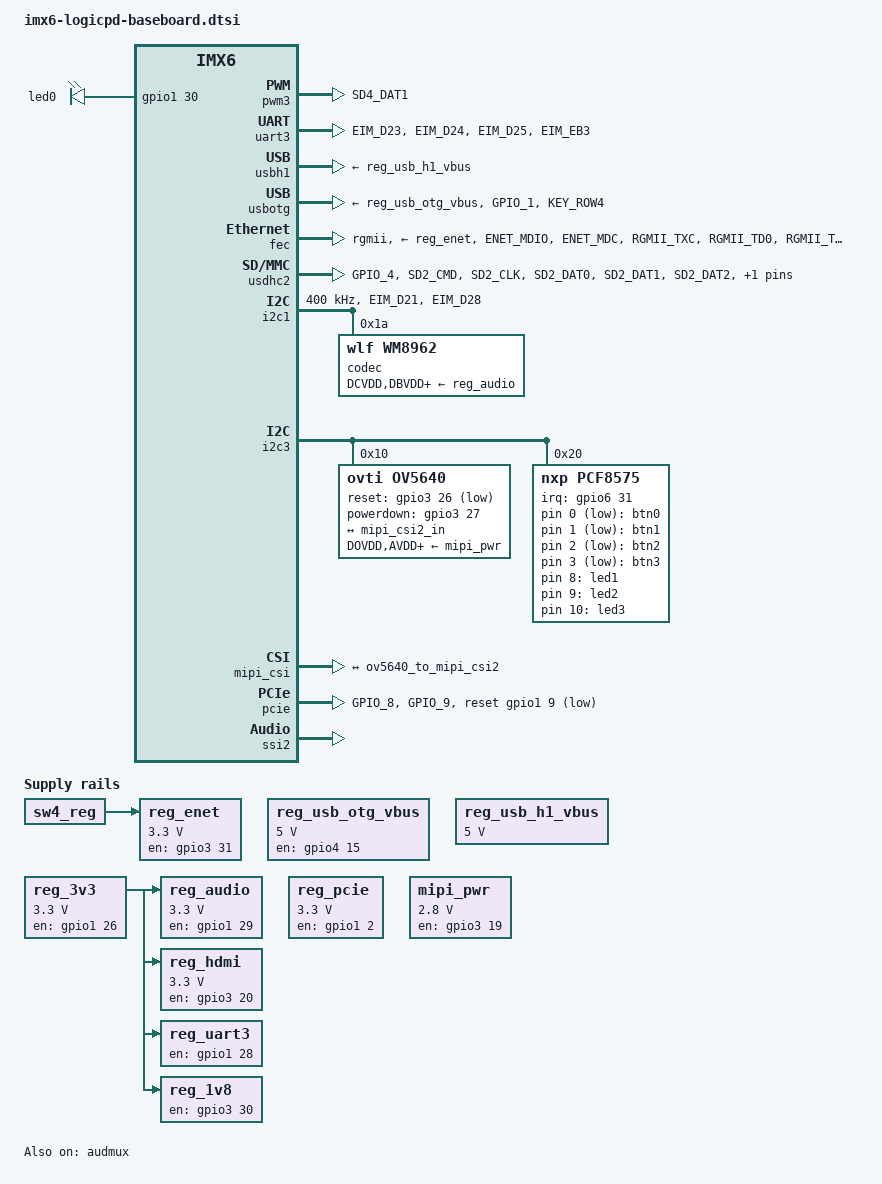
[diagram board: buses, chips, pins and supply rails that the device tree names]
/*
 * Copyright 2018 Logic PD, Inc.
 * Based on SabreSD, Copyright 2016 Freescale Semiconductor, Inc.
 *
 * This file is dual-licensed: you can use it either under the terms
 * of the GPL or the X11 license, at your option. Note that this dual
 * licensing only applies to this file, and not this project as a
 * whole.
 *
 *  a) This file is free software; you can redistribute it and/or
 *     modify it under the terms of the GNU General Public License as
 *     published by the Free Software Foundation; either version 2 of the
 *     License, or (at your option) any later version.
 *
 *     This file is distributed in the hope that it will be useful,
 *     but WITHOUT ANY WARRANTY; without even the implied warranty of
 *     MERCHANTABILITY or FITNESS FOR A PARTICULAR PURPOSE.  See the
 *     GNU General Public License for more details.
 *
 * Or, alternatively,
 *
 *  b) Permission is hereby granted, free of charge, to any person
 *     obtaining a copy of this software and associated documentation
 *     files (the "Software"), to deal in the Software without
 *     restriction, including without limitation the rights to use,
 *     copy, modify, merge, publish, distribute, sublicense, and/or
 *     sell copies of the Software, and to permit persons to whom the
 *     Software is furnished to do so, subject to the following
 *     conditions:
 *
 *     The above copyright notice and this permission notice shall be
 *     included in all copies or substantial portions of the Software.
 *
 *     THE SOFTWARE IS PROVIDED "AS IS", WITHOUT WARRANTY OF ANY KIND,
 *     EXPRESS OR IMPLIED, INCLUDING BUT NOT LIMITED TO THE WARRANTIES
 *     OF MERCHANTABILITY, FITNESS FOR A PARTICULAR PURPOSE AND
 *     NONINFRINGEMENT. IN NO EVENT SHALL THE AUTHORS OR COPYRIGHT
 *     HOLDERS BE LIABLE FOR ANY CLAIM, DAMAGES OR OTHER LIABILITY,
 *     WHETHER IN AN ACTION OF CONTRACT, TORT OR OTHERWISE, ARISING
 *     FROM, OUT OF OR IN CONNECTION WITH THE SOFTWARE OR THE USE OR
 *     OTHER DEALINGS IN THE SOFTWARE.
 */

/ {
	keyboard {
		compatible = "gpio-keys";

		btn0 {
			gpios = <&pcf8575 0 GPIO_ACTIVE_LOW>;
			label = "btn0";
			linux,code = <KEY_WAKEUP>;
			debounce-interval = <10>;
			wakeup-source;
		};

		btn1 {
			gpios = <&pcf8575 1 GPIO_ACTIVE_LOW>;
			label = "btn1";
			linux,code = <KEY_WAKEUP>;
			debounce-interval = <10>;
			wakeup-source;
		};

		btn2 {
			gpios = <&pcf8575 2 GPIO_ACTIVE_LOW>;
			label = "btn2";
			linux,code = <KEY_WAKEUP>;
			debounce-interval = <10>;
			wakeup-source;
		};
		btn3 {
			gpios = <&pcf8575 3 GPIO_ACTIVE_LOW>;
			label = "btn3";
			linux,code = <KEY_WAKEUP>;
			debounce-interval = <10>;
			wakeup-source;
		};

	};

	leds {
		compatible = "gpio-leds";

		gen_led0 {
			label = "led0";
			pinctrl-names = "default";
			pinctrl-0 = <&pinctrl_led0>;
			gpios = <&gpio1 30 GPIO_ACTIVE_HIGH>;
			linux,default-trigger = "cpu0";
		};

		gen_led1 {
			label = "led1";
			gpios = <&pcf8575 8 GPIO_ACTIVE_HIGH>;
		};

		gen_led2 {
			label = "led2";
			gpios = <&pcf8575 9 GPIO_ACTIVE_HIGH>;
			linux,default-trigger = "heartbeat";
		};

		gen_led3 {
			label = "led3";
			gpios = <&pcf8575 10 GPIO_ACTIVE_HIGH>;
			linux,default-trigger = "default-on";
		};
	};

	reg_usb_otg_vbus: regulator-otg-vbus@0 {
		compatible = "regulator-fixed";
		regulator-name = "usb_otg_vbus";
		regulator-min-microvolt = <5000000>;
		regulator-max-microvolt = <5000000>;
		gpio = <&gpio4 15 GPIO_ACTIVE_HIGH>;
		enable-active-high;
	};

	reg_usb_h1_vbus: regulator-usbh1vbus@1 {
		compatible = "regulator-fixed";
		regulator-name = "usb_h1_vbus";
		regulator-min-microvolt = <5000000>;
		regulator-max-microvolt = <5000000>;
	};

	reg_3v3: regulator-3v3@2 {
		pinctrl-names = "default";
		pinctrl-0 = <&pinctrl_reg_3v3>;
		compatible = "regulator-fixed";
		regulator-name = "reg_3v3";
		regulator-min-microvolt = <3300000>;
		regulator-max-microvolt = <3300000>;
		gpio = <&gpio1 26 GPIO_ACTIVE_HIGH>;
		enable-active-high;
		regulator-always-on;
	};

	reg_enet: regulator-ethernet@3 {
		pinctrl-names = "default";
		pinctrl-0 = <&pinctrl_enet_pwr>;
		compatible = "regulator-fixed";
		regulator-name = "ethernet-supply";
		regulator-min-microvolt = <3300000>;
		regulator-max-microvolt = <3300000>;
		gpio = <&gpio3 31 GPIO_ACTIVE_HIGH>;
		startup-delay-us = <70000>;
		enable-active-high;
		vin-supply = <&sw4_reg>;
	};

	reg_audio: regulator-audio@4 {
		pinctrl-names = "default";
		pinctrl-0 = <&pinctrl_reg_audio>;
		compatible = "regulator-fixed";
		regulator-name = "3v3_aud";
		regulator-min-microvolt = <3300000>;
		regulator-max-microvolt = <3300000>;
		gpio = <&gpio1 29 GPIO_ACTIVE_HIGH>;
		enable-active-high;
		regulator-always-on;
		vin-supply = <&reg_3v3>;
	};

	reg_hdmi: regulator-hdmi@5 {
		pinctrl-names = "default";
		pinctrl-0 = <&pinctrl_reg_hdmi>;
		compatible = "regulator-fixed";
		regulator-name = "hdmi-supply";
		regulator-min-microvolt = <3300000>;
		regulator-max-microvolt = <3300000>;
		gpio = <&gpio3 20 GPIO_ACTIVE_HIGH>;
		enable-active-high;
		vin-supply = <&reg_3v3>;
	};

	reg_uart3: regulator-uart3@6 {
		pinctrl-names = "default";
		pinctrl-0 = <&pinctrl_reg_uart3>;
		compatible = "regulator-fixed";
		regulator-name = "uart3-supply";
		gpio = <&gpio1 28 GPIO_ACTIVE_HIGH>;
		enable-active-high;
		regulator-always-on;
		vin-supply = <&reg_3v3>;
	};

	reg_1v8: regulator-1v8@7 {
		pinctrl-names = "default";
		pinctrl-0 = <&pinctrl_reg_1v8>;
		compatible = "regulator-fixed";
		regulator-name = "1v8-supply";
		gpio = <&gpio3 30 GPIO_ACTIVE_HIGH>;
		enable-active-high;
		regulator-always-on;
		vin-supply = <&reg_3v3>;
	};

	reg_pcie: regulator@8 {
		compatible = "regulator-fixed";
		pinctrl-names = "default";
		pinctrl-0 = <&pinctrl_pcie_reg>;
		regulator-name = "MPCIE_3V3";
		regulator-min-microvolt = <3300000>;
		regulator-max-microvolt = <3300000>;
		gpio = <&gpio1 2 GPIO_ACTIVE_HIGH>;
		enable-active-high;
	};

	mipi_pwr: regulator@9 {
		compatible = "regulator-fixed";
		pinctrl-names = "default";
		pinctrl-0 = <&pinctrl_mipi_pwr>;
		regulator-name = "mipi_pwr_en";
		regulator-min-microvolt = <2800000>;
		regulator-max-microvolt = <2800000>;
		gpio = <&gpio3 19 GPIO_ACTIVE_HIGH>;
		enable-active-high;
	};

	sound {
		compatible = "fsl,imx-audio-wm8962";
		model = "wm8962-audio";
		ssi-controller = <&ssi2>;
		audio-codec = <&codec>;
		audio-routing =
			"Headphone Jack", "HPOUTL",
			"Headphone Jack", "HPOUTR",
			"Ext Spk", "SPKOUTL",
			"Ext Spk", "SPKOUTR",
			"AMIC", "MICBIAS",
			"IN3R", "AMIC";
		mux-int-port = <2>;
		mux-ext-port = <4>;
	};
};

&audmux {
	pinctrl-names = "default";
	pinctrl-0 = <&pinctrl_audmux>;
	status = "okay";
};

&ecspi1 {
	pinctrl-names = "default";
	pinctrl-0 = <&pinctrl_ecspi1>;
	status = "disabled";
};

&pwm3 {
	pinctrl-names = "default";
	pinctrl-0 = <&pinctrl_pwm3>;
};

&uart3 {
	pinctrl-names = "default";
	pinctrl-0 = <&pinctrl_uart3>;
	status = "okay";
};

&usbh1 {
	vbus-supply = <&reg_usb_h1_vbus>;
	status = "okay";
};

&usbotg {
	vbus-supply = <&reg_usb_otg_vbus>;
	pinctrl-names = "default";
	pinctrl-0 = <&pinctrl_usbotg>;
	disable-over-current;
	status = "okay";
};

&fec {
	pinctrl-names = "default";
	pinctrl-0 = <&pinctrl_enet>;
	phy-mode = "rgmii";
	phy-reset-duration = <10>;
	phy-reset-gpios = <&gpio1 24 GPIO_ACTIVE_LOW>;
	phy-supply = <&reg_enet>;
	interrupt-parent = <&gpio1>;
	interrupts = <25 IRQ_TYPE_EDGE_FALLING>;
	status = "okay";
};

&usdhc2 {
	pinctrl-names = "default";
	pinctrl-0 = <&pinctrl_usdhc2>;
	pinctrl-1 = <&pinctrl_usdhc2_100mhz>;
	pinctrl-2 = <&pinctrl_usdhc2_200mhz>;
	no-1-8-v;
	keep-power-in-suspend;
	status = "okay";
};

&i2c1 {
	pinctrl-names = "default";
	pinctrl-0 = <&pinctrl_i2c1>;
	clock-frequency = <400000>;
	status = "okay";

	codec: wm8962@1a {
		compatible = "wlf,wm8962";
		reg = <0x1a>;
		clocks = <&clks IMX6QDL_CLK_CKO>;
		clock-names = "xclk";
		DCVDD-supply = <&reg_audio>;
		DBVDD-supply = <&reg_audio>;
		AVDD-supply = <&reg_audio>;
		CPVDD-supply = <&reg_audio>;
		MICVDD-supply = <&reg_audio>;
		PLLVDD-supply = <&reg_audio>;
		SPKVDD1-supply = <&reg_audio>;
		SPKVDD2-supply = <&reg_audio>;
		gpio-cfg = <
			0x0000 /* 0:Default */
			0x0000 /* 1:Default */
			0x0013 /* 2:FN_DMICCLK */
			0x0000 /* 3:Default */
			0x8014 /* 4:FN_DMICCDAT */
			0x0000 /* 5:Default */
		>;
	};
};

&i2c3 {
	ov5640: camera@10 {
		compatible = "ovti,ov5640";
		pinctrl-names = "default";
		pinctrl-0 = <&pinctrl_ov5640>;
		reg = <0x10>;
		clocks = <&clks IMX6QDL_CLK_CKO>;
		clock-names = "xclk";
		DOVDD-supply = <&mipi_pwr>;
		AVDD-supply = <&mipi_pwr>;
		DVDD-supply = <&mipi_pwr>;
		reset-gpios = <&gpio3 26 GPIO_ACTIVE_LOW>;
		powerdown-gpios = <&gpio3 27 GPIO_ACTIVE_HIGH>;

		port {
			ov5640_to_mipi_csi2: endpoint {
				remote-endpoint = <&mipi_csi2_in>;
				clock-lanes = <0>;
				data-lanes = <1 2>;
			};
		};
	};

	pcf8575: gpio@20 {
		pinctrl-names = "default";
		pinctrl-0 = <&pinctrl_pcf8574>;
		compatible = "nxp,pcf8575";
		reg = <0x20>;
		interrupt-parent = <&gpio6>;
		interrupts = <31 IRQ_TYPE_EDGE_FALLING>;
		gpio-controller;
		#gpio-cells = <2>;
		interrupt-controller;
		#interrupt-cells = <2>;
		lines-initial-states = <0x0710>;
		wakeup-source;
	};
};

&mipi_csi {
	status = "okay";

	port@0 {
		reg = <0>;

		mipi_csi2_in: endpoint {
			remote-endpoint = <&ov5640_to_mipi_csi2>;
			clock-lanes = <0>;
			data-lanes = <1 2>;
		};
	};
};

&pcie {
	pinctrl-names = "default";
	pinctrl-0 = <&pinctrl_pcie>;
	reset-gpio = <&gpio1 9 GPIO_ACTIVE_LOW>;
	status = "okay";
	vpcie-supply = <&reg_pcie>;
	/* fsl,max-link-speed = <2>; */
};

&ssi2 {
	status = "okay";
};

&iomuxc {

	pinctrl_audmux: audmuxgrp {
		fsl,pins = <
			MX6QDL_PAD_DISP0_DAT20__AUD4_TXC  0x130b0
			MX6QDL_PAD_DISP0_DAT21__AUD4_TXD  0x110b0
			MX6QDL_PAD_DISP0_DAT22__AUD4_TXFS 0x130b0
			MX6QDL_PAD_DISP0_DAT23__AUD4_RXD  0x130b0
		>;
	};

	pinctrl_i2c1: i2c1 {
		fsl,pins = <
			MX6QDL_PAD_EIM_D21__I2C1_SCL	0x4001b8b1
			MX6QDL_PAD_EIM_D28__I2C1_SDA	0x4001b8b1
		>;
	};

	pinctrl_enet_pwr: enet_pwr {
		fsl,pins = <
			MX6QDL_PAD_EIM_D31__GPIO3_IO31	0x1b0b0
		>;
	};

	pinctrl_mipi_pwr: pwr_mipi {
		fsl,pins = <MX6QDL_PAD_EIM_D19__GPIO3_IO19 0x1b0b1>;
	};

	pinctrl_ov5640: ov5640grp {
		fsl,pins = <
			MX6QDL_PAD_EIM_D26__GPIO3_IO26	0x1b0b1
			MX6QDL_PAD_EIM_D27__GPIO3_IO27	0x1b0b1
		>;
	};

	pinctrl_reg_hdmi: reg_hdmi {
		fsl,pins = <
			MX6QDL_PAD_EIM_D20__GPIO3_IO20	0x1b0b0
		>;
	};

	pinctrl_uart3: uart3grp {
		fsl,pins = <
			MX6QDL_PAD_EIM_D23__UART3_CTS_B		0x1b0b1
			MX6QDL_PAD_EIM_D24__UART3_TX_DATA	0x1b0b1
			MX6QDL_PAD_EIM_D25__UART3_RX_DATA	0x1b0b1
			MX6QDL_PAD_EIM_EB3__UART3_RTS_B		0x1b0b1
		>;
	};

	pinctrl_usbotg: usbotggrp {
		fsl,pins = <
			MX6QDL_PAD_GPIO_1__USB_OTG_ID	0xd17059
			MX6QDL_PAD_KEY_ROW4__USB_OTG_PWR 0x130b0
		>;
	};

	pinctrl_ecspi1: ecspi1grp {
		fsl,pins = <
			MX6QDL_PAD_KEY_COL0__ECSPI1_SCLK	0x100b1
			MX6QDL_PAD_KEY_ROW0__ECSPI1_MOSI	0x100b1
			MX6QDL_PAD_KEY_COL1__ECSPI1_MISO	0x100b1
			MX6QDL_PAD_KEY_ROW1__ECSPI1_SS0		0x100b1
		>;
	};

	pinctrl_usdhc2: usdhc2grp {
		fsl,pins = <
			MX6QDL_PAD_GPIO_4__GPIO1_IO04		0x1b0b0	/* CD */
			MX6QDL_PAD_SD2_CMD__SD2_CMD		0x17069
			MX6QDL_PAD_SD2_CLK__SD2_CLK		0x10069
			MX6QDL_PAD_SD2_DAT0__SD2_DATA0		0x17069
			MX6QDL_PAD_SD2_DAT1__SD2_DATA1		0x17069
			MX6QDL_PAD_SD2_DAT2__SD2_DATA2		0x17069
			MX6QDL_PAD_SD2_DAT3__SD2_DATA3		0x17069
		>;
	};

	pinctrl_usdhc2_100mhz: h100-usdhc2-100mhz {
		fsl,pins = <
			MX6QDL_PAD_GPIO_4__GPIO1_IO04		0x1b0b0	/* CD */
			MX6QDL_PAD_SD2_CMD__SD2_CMD		0x170b9
			MX6QDL_PAD_SD2_CLK__SD2_CLK		0x100b9
			MX6QDL_PAD_SD2_DAT0__SD2_DATA0		0x170b9
			MX6QDL_PAD_SD2_DAT1__SD2_DATA1		0x170b9
			MX6QDL_PAD_SD2_DAT2__SD2_DATA2		0x170b9
			MX6QDL_PAD_SD2_DAT3__SD2_DATA3		0x170b9
		>;
	};

	pinctrl_usdhc2_200mhz: h100-usdhc2-200mhz {
		fsl,pins = <
			MX6QDL_PAD_GPIO_4__GPIO1_IO04		0x1b0b0	/* CD */
			MX6QDL_PAD_SD2_CMD__SD2_CMD		0x170f9
			MX6QDL_PAD_SD2_CLK__SD2_CLK		0x100f9
			MX6QDL_PAD_SD2_DAT0__SD2_DATA0		0x170f9
			MX6QDL_PAD_SD2_DAT1__SD2_DATA1		0x170f9
			MX6QDL_PAD_SD2_DAT2__SD2_DATA2		0x170f9
			MX6QDL_PAD_SD2_DAT3__SD2_DATA3		0x170f9
		>;
	};

	pinctrl_enet: enetgrp {
		fsl,pins = <
			MX6QDL_PAD_ENET_MDIO__ENET_MDIO		0x1b8b0
			MX6QDL_PAD_ENET_MDC__ENET_MDC		0x1b0b0
			MX6QDL_PAD_RGMII_TXC__RGMII_TXC		0x1b030
			MX6QDL_PAD_RGMII_TD0__RGMII_TD0		0x1b030
			MX6QDL_PAD_RGMII_TD1__RGMII_TD1		0x1b030
			MX6QDL_PAD_RGMII_TD2__RGMII_TD2		0x1b030
			MX6QDL_PAD_RGMII_TD3__RGMII_TD3		0x1b030
			MX6QDL_PAD_ENET_REF_CLK__ENET_TX_CLK	0x100b0
			MX6QDL_PAD_RGMII_TX_CTL__RGMII_TX_CTL	0x1b030
			MX6QDL_PAD_GPIO_16__ENET_REF_CLK	0x4001b0a8
			MX6QDL_PAD_RGMII_RXC__RGMII_RXC		0x1b030
			MX6QDL_PAD_RGMII_RD0__RGMII_RD0		0x13030
			MX6QDL_PAD_RGMII_RD1__RGMII_RD1		0x13030
			MX6QDL_PAD_RGMII_RD2__RGMII_RD2		0x1b030
			MX6QDL_PAD_RGMII_RD3__RGMII_RD3		0x1b030
			MX6QDL_PAD_RGMII_RX_CTL__RGMII_RX_CTL	0x13030
			MX6QDL_PAD_ENET_CRS_DV__GPIO1_IO25	0x1b0b0	/* ENET_INT */
			MX6QDL_PAD_ENET_RX_ER__GPIO1_IO24	0x1b0b0	/* ETHR_nRST */
		>;
	};

	pinctrl_reg_audio: audio-reg {
		fsl,pins = <
			MX6QDL_PAD_ENET_TXD1__GPIO1_IO29 0x1b0b0
		>;
	};

	pinctrl_pcie: pcie {
		fsl,pins = <
			MX6QDL_PAD_GPIO_8__GPIO1_IO08 0x1b0b0
			MX6QDL_PAD_GPIO_9__GPIO1_IO09 0x1b0b0
		>;
	};

	pinctrl_pcie_reg: pciereggrp {
		fsl,pins = <
			MX6QDL_PAD_GPIO_2__GPIO1_IO02	0x1b0b0
			>;
	};

	pinctrl_pcf8574: pcf8575-pins {
		fsl,pins = <
			MX6QDL_PAD_EIM_BCLK__GPIO6_IO31 0x1b0b0
		>;
	};

	pinctrl_lcd: lcdgrp {
		fsl,pins = <
			MX6QDL_PAD_DI0_DISP_CLK__IPU1_DI0_DISP_CLK 0x10	/* R_LCD_DCLK */
			MX6QDL_PAD_DI0_PIN15__GPIO4_IO17	0x100b0	/* R_LCD_PANEL_PWR */
			MX6QDL_PAD_DI0_PIN2__IPU1_DI0_PIN02	0x10	/* R_LCD_HSYNC */
			MX6QDL_PAD_DI0_PIN3__IPU1_DI0_PIN03	0x10	/* R_LCD_VSYNC */
			MX6QDL_PAD_DI0_PIN4__IPU1_DI0_PIN04	0x10	/* R_LCD_MDISP */
			MX6QDL_PAD_DISP0_DAT1__IPU1_DISP0_DATA01	0x10
			MX6QDL_PAD_DISP0_DAT2__IPU1_DISP0_DATA02	0x10
			MX6QDL_PAD_DISP0_DAT3__IPU1_DISP0_DATA03   0x10
			MX6QDL_PAD_DISP0_DAT4__IPU1_DISP0_DATA04   0x10
			MX6QDL_PAD_DISP0_DAT5__IPU1_DISP0_DATA05   0x10
			MX6QDL_PAD_DISP0_DAT6__IPU1_DISP0_DATA06   0x10
			MX6QDL_PAD_DISP0_DAT7__IPU1_DISP0_DATA07   0x10
			MX6QDL_PAD_DISP0_DAT8__IPU1_DISP0_DATA08   0x10
			MX6QDL_PAD_DISP0_DAT9__IPU1_DISP0_DATA09   0x10
			MX6QDL_PAD_DISP0_DAT10__IPU1_DISP0_DATA10  0x10
			MX6QDL_PAD_DISP0_DAT11__IPU1_DISP0_DATA11  0x10
			MX6QDL_PAD_DISP0_DAT12__IPU1_DISP0_DATA12  0x10
			MX6QDL_PAD_DISP0_DAT13__IPU1_DISP0_DATA13  0x10
			MX6QDL_PAD_DISP0_DAT14__IPU1_DISP0_DATA14  0x10
			MX6QDL_PAD_DISP0_DAT15__IPU1_DISP0_DATA15  0x10
			MX6QDL_PAD_DISP0_DAT16__IPU1_DISP0_DATA16  0x10
		>;
	};

	pinctrl_pwm3: pwm3grp {
		fsl,pins = <
			MX6QDL_PAD_SD4_DAT1__PWM3_OUT		0x1b0b1
		>;
	};

	pinctrl_reg_uart3: uart3reg {
		fsl,pins = <
			MX6QDL_PAD_ENET_TX_EN__GPIO1_IO28	0x1b0b0
		>;
	};

	pinctrl_reg_3v3: reg-3v3 {
		fsl,pins = <
			MX6QDL_PAD_ENET_RXD1__GPIO1_IO26	0x1b0b0
		>;
	};

	pinctrl_reg_1v8: reg-1v8 {
		fsl,pins = <
			MX6QDL_PAD_EIM_D30__GPIO3_IO30		0x1b0b0
		>;
	};

	pinctrl_led0: led0 {
		fsl,pins = <
			MX6QDL_PAD_ENET_TXD0__GPIO1_IO30	0x1b0b0
		>;
	};
};
